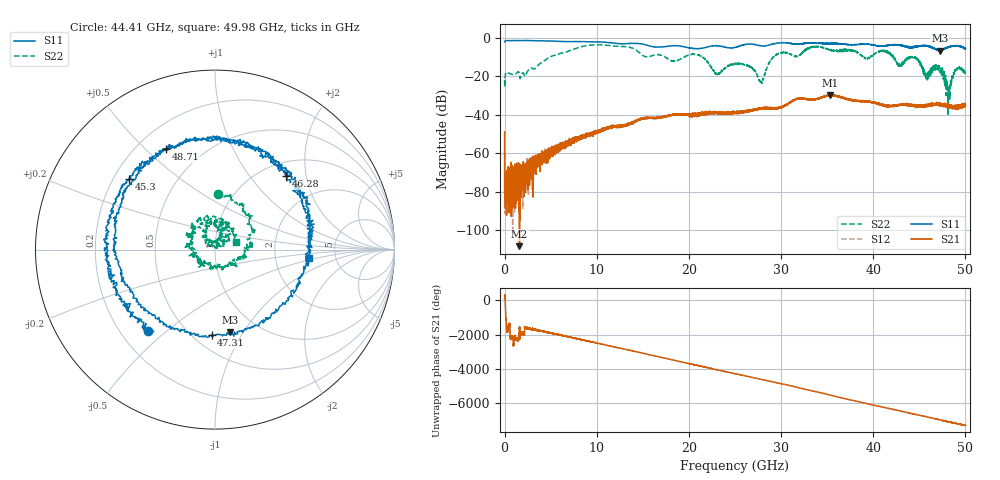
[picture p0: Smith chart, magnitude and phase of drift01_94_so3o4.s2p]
!Created with skrf (http://scikit-rf.org).
# Hz S RI R 50.0
!freq ReS11 ImS11 ReS21 ImS21 ReS12 ImS12 ReS22 ImS22
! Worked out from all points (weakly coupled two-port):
!   10001 points, 300 kHz to 50 GHz, reference 50 ohm
!   highest |S21| = -29.60 dB at 35.34 GHz (marker M1); lowest = -108.2 dB at 1.615 GHz (marker M2)
!   lowest |S11| = -6.6 dB at 47.22 GHz (marker M3), VSWR 2.74, Z = 37.2 - j43.6 ohm
!   |S11| at or under -10 dB: nowhere
!   |S22| runs from -40.4 to -3.6 dB; largest |S21 - S12| = 0.0062
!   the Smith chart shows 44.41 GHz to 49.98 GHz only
!   S11 on the Smith chart (normalised r, x): 44.41 GHz: 0.31, -0.43; 45.3 GHz: 0.26, +0.34; 46.28 GHz: 1.28, +1.54; 47.31 GHz: 0.61, -0.75; 48.71 GHz: 0.32, +0.58; 49.98 GHz: 3.17, -0.41
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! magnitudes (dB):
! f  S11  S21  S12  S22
! 300 kHz  -2.1  -48.8  -59.4  -21.8
! 265.3 MHz  -1.4  -84.6  -80.9  -18.0
! 1.615 GHz  -1.4  -108.2  -72.5  -19.6
! 8.335 GHz  -1.9  -51.8  -51.2  -4.6
! 16.67 GHz  -4.8  -41.5  -41.5  -8.7
! 20.97 GHz  -5.6  -39.3  -39.7  -8.8
! 23.08 GHz  -4.1  -39.1  -38.6  -18.7
! 25 GHz  -5.0  -39.2  -38.6  -13.7
! 27.84 GHz  -4.1  -36.5  -36.8  -22.9
! 29.47 GHz  -2.8  -36.6  -36.5  -8.8
! 33.34 GHz  -2.6  -32.0  -31.9  -4.7
! 35.34 GHz  -3.2  -29.6  -29.9  -6.3
! 41.67 GHz  -3.9  -35.4  -35.4  -7.5
! 44.41 GHz  -4.6  -34.9  -35.1  -10.2
! 45.3 GHz  -4.2  -35.4  -35.5  -15.4
! 46.28 GHz  -4.9  -34.0  -34.7  -15.6
! 47.22 GHz  -6.6  -34.4  -34.9  -16.6
! 47.31 GHz  -6.4  -34.4  -34.5  -15.4
! 48.13 GHz  -4.8  -35.8  -35.5  -35.4
! 48.71 GHz  -4.1  -36.0  -35.9  -18.4
! 49.98 GHz  -5.6  -35.4  -34.9  -18.2
! 50 GHz  -5.6  -35.3  -34.7  -18.5
